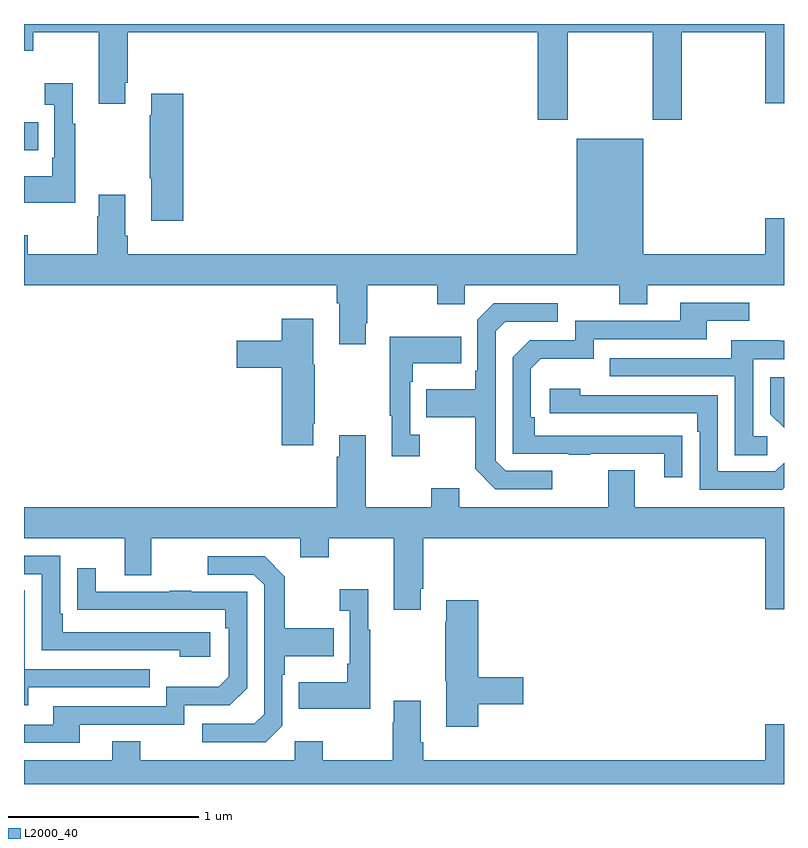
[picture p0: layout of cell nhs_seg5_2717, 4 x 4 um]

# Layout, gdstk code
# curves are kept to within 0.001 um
import gdstk
lib = gdstk.Library(unit=1e-6, precision=1e-09)
def R(c, l, rs):  # rectangles x0, y0, x1, y1
    for r in rs: c.add(gdstk.rectangle(r[:2], r[2:], *l))
def P(c, l, *ps):  # polygons
    for p in ps: c.add(gdstk.Polygon(p, *l))
L2000_40 = (2000, 40)

nhs_seg5_2717 = lib.new_cell('nhs_seg5_2717')
R(nhs_seg5_2717, L2000_40, [(269,860.135,269.075,860.283)])
P(nhs_seg5_2717, L2000_40, [(271.863,860.756),(272.308,860.756),(272.308,860.295),(272.463,860.295),(272.463,860.756),(272.9,860.756),(272.9,860.382),(273,860.382),(273,860.799),(269,860.799),(269,860.657),(269.049,860.657),(269.049,860.756),(269.393,860.756),(269.393,860.379),(269.533,860.379),(269.533,860.491),(269.546,860.491),(269.546,860.756),(271.703,860.756),(271.703,860.295),(271.863,860.295)],
  [(269.269,860.275),(269.257,860.275),(269.257,860.488),(269.109,860.488),(269.109,860.375),(269.16,860.375),(269.16,860.095),(269.148,860.095),(269.148,859.999),(269,859.999),(269,859.859),(269.269,859.859)],
  [(269.837,860.431),(269.669,860.431),(269.669,860.318),(269.662,860.318),(269.662,859.987),(269.669,859.987),(269.669,859.764),(269.837,859.764)],
  [(270.799,859.225),(270.807,859.225),(270.807,859.424),(271.174,859.424),(271.174,859.325),(271.32,859.325),(271.32,859.424),(272.134,859.424),(272.134,859.325),(272.281,859.325),(272.281,859.424),(273,859.424),(273,859.777),(272.9,859.777),(272.9,859.588),(272.26,859.588),(272.26,860.194),(271.91,860.194),(271.91,859.588),(269.546,859.588),(269.546,859.684),(269.533,859.684),(269.533,859.9),(269.393,859.9),(269.393,859.787),(269.386,859.787),(269.386,859.588),(269.019,859.588),(269.019,859.687),(269,859.687),(269,859.424),(270.647,859.424),(270.647,859.328),(270.659,859.328),(270.659,859.113),(270.799,859.113)],
  [(272.465,858.632),(271.688,858.633),(271.688,858.73),(271.668,858.73),(271.668,858.984),(271.721,859.037),(271.998,859.037),(271.998,859.14),(272.593,859.14),(272.593,859.236),(272.818,859.236),(272.818,859.332),(272.453,859.332),(272.453,859.236),(271.902,859.236),(271.902,859.134),(271.662,859.134),(271.572,859.044),(271.572,858.537),(271.867,858.537),(271.867,858.532),(271.979,858.532),(271.979,858.537),(272.369,858.537),(272.369,858.414),(272.465,858.414)],
  [(271.78,858.447),(271.536,858.447),(271.482,858.501),(271.482,859.182),(271.533,859.233),(271.81,859.233),(271.81,859.329),(271.473,859.329),(271.386,859.242),(271.386,858.973),(271.374,858.973),(271.374,858.877),(271.117,858.877),(271.117,858.73),(271.374,858.73),(271.374,858.457),(271.479,858.351),(271.78,858.351)],
  [(270.523,858.694),(270.531,858.694),(270.531,859.005),(270.523,859.005),(270.523,859.249),(270.356,859.249),(270.356,859.131),(270.12,859.131),(270.12,858.989),(270.356,858.989),(270.356,858.582),(270.523,858.582)],
  [(271.084,858.638),(271.032,858.638),(271.032,858.917),(271.045,858.917),(271.045,859.013),(271.301,859.013),(271.301,859.153),(270.924,859.153),(270.924,858.737),(270.935,858.737),(270.935,858.525),(271.084,858.525)],
  [(272.911,858.63),(272.838,858.63),(272.838,859.035),(273,859.035),(273,859.131),(272.977,859.131),(272.977,859.135),(272.723,859.135),(272.723,859.041),(272.083,859.041),(272.083,858.945),(272.742,858.945),(272.742,858.529),(272.911,858.529)],
  [(273,858.94),(272.928,858.94),(272.928,858.746),(273,858.674)],
  [(273,858.357),(273,858.489),(272.955,858.444),(272.652,858.444),(272.652,858.846),(271.928,858.846),(271.928,858.88),(271.767,858.88),(271.767,858.75),(272.543,858.75),(272.543,858.653),(272.556,858.653),(272.556,858.348),(272.991,858.348)],
  [(271.087,857.827),(271.1,857.827),(271.1,858.092),(272.9,858.092),(272.9,857.718),(273,857.718),(273,858.256),(272.215,858.256),(272.215,858.451),(272.075,858.451),(272.075,858.256),(271.291,858.256),(271.291,858.355),(271.144,858.355),(271.144,858.256),(270.799,858.256),(270.799,858.634),(270.659,858.634),(270.659,858.521),(270.647,858.521),(270.647,858.256),(269,858.256),(269,858.092),(269.531,858.092),(269.531,857.898),(269.671,857.898),(269.671,858.092),(270.455,858.092),(270.455,857.993),(270.603,857.993),(270.603,858.092),(270.947,858.092),(270.947,857.715),(271.087,857.715)],
  [(269.98,857.598),(269.203,857.598),(269.203,857.695),(269.19,857.695),(269.19,858),(269,858),(269,857.904),(269.094,857.904),(269.094,857.502),(269.819,857.502),(269.819,857.468),(269.98,857.468)],
  [(270.36,857.106),(270.36,857.375),(270.373,857.375),(270.373,857.471),(270.629,857.471),(270.629,857.619),(270.373,857.619),(270.373,857.891),(270.267,857.997),(269.967,857.997),(269.967,857.901),(270.21,857.901),(270.264,857.847),(270.264,857.166),(270.213,857.115),(269.937,857.115),(269.937,857.019),(270.273,857.019)],
  [(269.293,857.112),(269.844,857.112),(269.844,857.214),(270.084,857.214),(270.174,857.304),(270.174,857.811),(269.879,857.811),(269.879,857.816),(269.767,857.816),(269.767,857.811),(269.377,857.811),(269.377,857.935),(269.281,857.935),(269.281,857.716),(270.058,857.715),(270.058,857.618),(270.078,857.618),(270.078,857.364),(270.025,857.311),(269.748,857.311),(269.748,857.208),(269.153,857.208),(269.153,857.112),(269,857.112),(269,857.016),(269.293,857.016)],
  [(270.823,857.611),(270.811,857.611),(270.811,857.824),(270.663,857.824),(270.663,857.711),(270.714,857.711),(270.714,857.431),(270.702,857.431),(270.702,857.335),(270.445,857.335),(270.445,857.195),(270.823,857.195)],
  [(269.023,857.307),(269.663,857.307),(269.663,857.403),(269.004,857.403),(269.004,857.819),(269,857.819),(269,857.213),(269.023,857.213)],
  [(271.391,857.218),(271.627,857.218),(271.627,857.36),(271.391,857.36),(271.391,857.767),(271.223,857.767),(271.223,857.654),(271.216,857.654),(271.216,857.343),(271.223,857.343),(271.223,857.1),(271.391,857.1)],
  [(273,857.113),(272.9,857.113),(272.9,856.924),(271.1,856.924),(271.1,857.02),(271.087,857.02),(271.087,857.236),(270.947,857.236),(270.947,857.123),(270.94,857.123),(270.94,856.924),(270.573,856.924),(270.573,857.023),(270.426,857.023),(270.426,856.924),(269.613,856.924),(269.613,857.023),(269.465,857.023),(269.465,856.924),(269,856.924),(269,856.799),(273,856.799)])

lib.write_gds('nhs_seg5_2717.gds')
